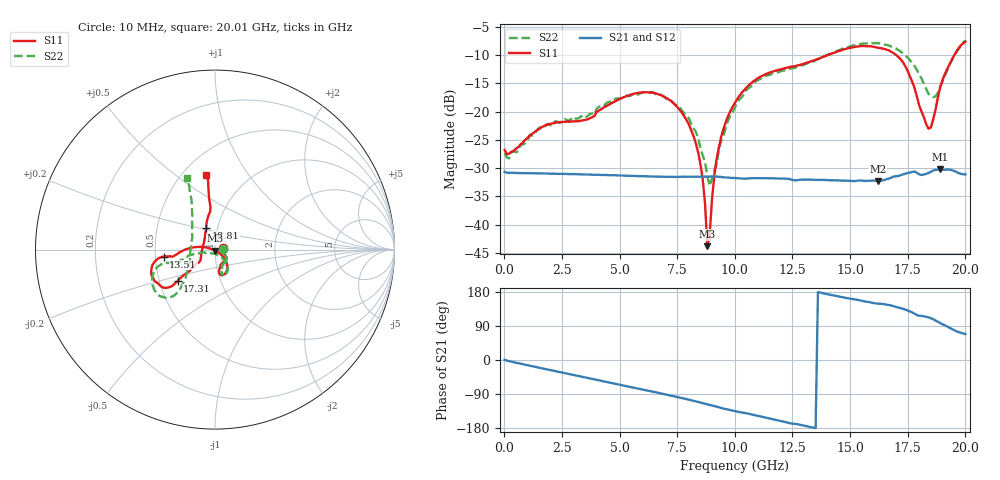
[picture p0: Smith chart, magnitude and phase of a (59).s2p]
! Hittite Microwave Corporation
! 2 Elizabeth Drive
! Chelmsford, MA 01824
! http://www.hittite.com
! Tel: 978-250-3343
! Fax: 978-250-3373
! Device:  HMC424LP3
! Description: 0.5 dB GaAs MMIC 6-Bit Digital Attenuator
! Frequency:  DC -  13.00 GHz
! Package:  LP3  - 3x3 mm Quad Flatpack No-Lead (QFN) Plastic Package: 16 pin
! Ports:  2 RF, 7 DC
!  Pad  1  = Ground
!  Pad  2  = RF IN  =  Port 1
!  Pad  3  = Ground
!  Pad  4  = V6
!  Pad  5  = V5
!  Pad  6  = V4
!  Pad  7  = V3
!  Pad  8  = V2
!  Pad  9  = V1
!  Pad 10  = Ground
!  Pad 11  = RF OUT  = Port 2
!  Pad 12  = Ground
!  Pad 15  = VEE
! Control:  -5 Volt control voltage
! State:  57
! Attenuation:  28.5 dB
! Voltages:  Vdd = -5.00 Volts  Idd =  -2.513 mA
!  V1  = -5.00 Volts  I1  =  -1.0 uA
!  V2  = 0.00 Volts  I2  =  29.0 uA
!  V3  = 0.00 Volts  I3  =  29.0 uA
!  V4  = -5.00 Volts  I4  =  -1.0 uA
!  V5  = -5.00 Volts  I5  =  -1.0 uA
!  V6  = -5.00 Volts  I6  =  -1.0 uA
! Data:  The device was measured on evaluation board 105354-1.
!  Data was collected using a calibrated network analyzer.
!  The evaluation circuit board was modeled and simulated.  This was use
!  to removed the evaluation board circuit from the measured data.
!  The reference plane is the edge of the package pin.
! Misc:  Lot xxxx, Unit 1
!  Application 20120001, Data collected in Application 20090083
! Date Measured:  2009-09-15
! Date:  2012-05-14  MJV
! Note:
!  Hittite supplies this data as a sample of measured data at the package pin
!  for this product.  Your particular data for this product may vary.
!  Data was taken at 25 degrees C.
!  Hittite reserves the right to change this data at anytime.
# GHz S MA R 50
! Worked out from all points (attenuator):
!   201 points, 10 MHz to 20.01 GHz, reference 50 ohm
!   highest |S21| = -30.23 dB at 18.91 GHz (marker M1); lowest = -32.3 dB at 16.21 GHz (marker M2)
!   lowest |S11| = -43.8 dB at 8.81 GHz (marker M3), VSWR 1.01, Z = 50.2 - j0.622 ohm
!   |S11| at or under -10 dB: start of sweep to 14.01 GHz; 17.02 GHz to 19.52 GHz (2.508 GHz wide, 13.7 % of centre)
!   |S22| runs from -33.1 to -7.4 dB; largest |S21 - S12| = 0.00065
!   S11 on the Smith chart (normalised r, x): 10 MHz: 1.09, +0.02; 13.51 GHz: 0.55, -0.05; 17.31 GHz: 0.62, -0.23; 18.81 GHz: 0.88, +0.22; 20.01 GHz: 0.65, +0.65
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0.01  0.0458 8.6  0.02939 0.5  0.03001 0.2  0.043 6.9
3.41  0.08355 -57.9  0.02784 -44.7  0.02787 -44.9  0.09258 -54.2
6.71  0.142 -64.9  0.02662 -87.0  0.02655 -87.0  0.1429 -63.4
7.61  0.1038 -50.2  0.02652 -98.9  0.02652 -98.9  0.1101 -51.1
8.21  0.06082 -41.7  0.02653 -107.7  0.02647 -107.8  0.07113 -49.9
8.61  0.02516 -41.0  0.02659 -113.8  0.02657 -113.7  0.04106 -59.1
8.81  0.006451 -73.9  0.02661 -117.0  0.02652 -116.7  0.02686 -71.4
8.91  0.007988 -164.2  0.02665 -118.4  0.02662 -118.3  0.02208 -101.5
9.01  0.01667 176.6  0.02666 -119.9  0.02666 -120.0  0.02536 -121.7
9.21  0.03798 168.2  0.02664 -123.2  0.02654 -123.2  0.03421 -149.6
9.41  0.05996 167.4  0.02646 -126.7  0.02644 -126.7  0.0559 -159.8
10.01  0.1201 173.9  0.02588 -134.9  0.02591 -135.0  0.1098 -169.0
11.21  0.2086 -173.8  0.02578 -150.1  0.0258 -150.3  0.2023 -162.6
13.41  0.2836 -172.2  0.02491 -178.4  0.02477 -178.4  0.2785 -164.7
13.51  0.2884 -172.2  0.02489 -179.6  0.02481 -179.7  0.2861 -165.0
16.21  0.368 -148.5  0.0242 148.9  0.02417 148.7  0.4052 -141.7
16.71  0.3468 -142.1  0.02564 144.9  0.02567 144.9  0.3841 -135.6
17.31  0.2724 -140.0  0.02789 134.8  0.02782 134.9  0.3276 -131.3
18.41  0.07073 172.1  0.02864 112.4  0.02855 112.2  0.1436 -164.2
18.81  0.1314 112.1  0.03072 100.8  0.0307 100.6  0.146 149.6
18.91  0.1621 106.5  0.0308 97.4  0.03075 97.5  0.1663 141.3
20.01  0.4174 97.1  0.02786 68.5  0.02794 68.0  0.4274 111.5
